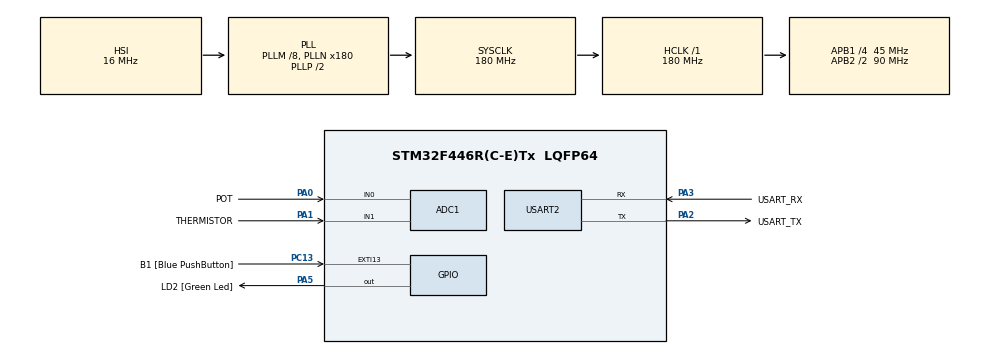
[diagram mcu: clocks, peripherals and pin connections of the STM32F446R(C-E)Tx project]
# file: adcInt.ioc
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ADC1.Channel-0\#ChannelRegularConversion=ADC_CHANNEL_TEMPSENSOR
ADC1.Channel-1\#ChannelRegularConversion=ADC_CHANNEL_0
ADC1.Channel-2\#ChannelRegularConversion=ADC_CHANNEL_1
ADC1.NbrOfConversion=3
ADC1.NbrOfConversionFlag=1
ADC1.Rank-0\#ChannelRegularConversion=1
ADC1.Rank-1\#ChannelRegularConversion=2
ADC1.Rank-2\#ChannelRegularConversion=3
ADC1.SamplingTime-0\#ChannelRegularConversion=ADC_SAMPLETIME_84CYCLES
ADC1.SamplingTime-1\#ChannelRegularConversion=ADC_SAMPLETIME_84CYCLES
ADC1.SamplingTime-2\#ChannelRegularConversion=ADC_SAMPLETIME_84CYCLES
ADC1.master=1
Mcu.Family=STM32F4
Mcu.Name=STM32F446R(C-E)Tx
Mcu.Package=LQFP64
NVIC.ADC_IRQn=true\:0\:0\:false\:false\:true\:true\:true\:true
NVIC.PriorityGroup=NVIC_PRIORITYGROUP_0
NVIC.TIM2_IRQn=true\:0\:0\:false\:false\:true\:true\:true\:true
PA0-WKUP.GPIO_Label=POT
PA0-WKUP.Signal=ADCx_IN0
PA1.GPIO_Label=THERMISTOR
PA1.Signal=ADCx_IN1
PA13.GPIO_Label=TMS
PA13.Mode=Trace_Asynchronous_SW
PA13.Signal=SYS_JTMS-SWDIO
PA14.GPIO_Label=TCK
PA14.Mode=Trace_Asynchronous_SW
PA14.Signal=SYS_JTCK-SWCLK
PA2.GPIO_Label=USART_TX
PA2.Mode=Asynchronous
PA2.Signal=USART2_TX
PA3.GPIO_Label=USART_RX
PA3.Mode=Asynchronous
PA3.Signal=USART2_RX
PA5.GPIO_Label=LD2 [Green Led]
PA5.Signal=GPIO_Output
PB3.GPIO_Label=SWO
PB3.Mode=Trace_Asynchronous_SW
PB3.Signal=SYS_JTDO-SWO
PC13.GPIO_Label=B1 [Blue PushButton]
PC13.GPIO_ModeDefaultEXTI=GPIO_MODE_IT_FALLING
PC13.Signal=GPXTI13
PC14-OSC32_IN.Mode=LSE-External-Oscillator
PC14-OSC32_IN.Signal=RCC_OSC32_IN
PC15-OSC32_OUT.Mode=LSE-External-Oscillator
PC15-OSC32_OUT.Signal=RCC_OSC32_OUT
PH0-OSC_IN.Mode=HSE-External-Oscillator
PH0-OSC_IN.Signal=RCC_OSC_IN
PH1-OSC_OUT.Mode=HSE-External-Oscillator
PH1-OSC_OUT.Signal=RCC_OSC_OUT
ProjectManager.HeapSize=0x200
ProjectManager.StackSize=0x400
ProjectManager.TargetToolchain=STM32CubeIDE
RCC.48MHZClocksFreq_Value=84000000
RCC.AHBFreq_Value=180000000
RCC.APB1CLKDivider=RCC_HCLK_DIV4
RCC.APB1Freq_Value=45000000
RCC.APB1TimFreq_Value=90000000
RCC.APB2CLKDivider=RCC_HCLK_DIV2
RCC.APB2Freq_Value=90000000
RCC.APB2TimFreq_Value=180000000
RCC.CortexFreq_Value=180000000
RCC.FLatency-AdvancedSettings=FLASH_LATENCY_5
RCC.HCLKFreq_Value=180000000
RCC.HSE_VALUE=8000000
RCC.HSI_VALUE=16000000
RCC.PLLM=8
RCC.PLLN=180
RCC.SYSCLKFreq_VALUE=180000000
RCC.SYSCLKSource=RCC_SYSCLKSOURCE_PLLCLK
RCC.USBFreq_Value=180000000
RCC.VCOOutputFreq_Value=360000000
SH.ADCx_IN0.0=ADC1_IN0,IN0
SH.ADCx_IN1.0=ADC1_IN1,IN1
TIM2.AutoReloadPreload=TIM_AUTORELOAD_PRELOAD_ENABLE
TIM2.Period=9000
TIM2.Prescaler=5000
USART2.VirtualMode=VM_ASYNC
VP_ADC1_TempSens_Input.Mode=IN-TempSens
VP_TIM2_VS_ClockSourceINT.Mode=Internal
board=NUCLEO-F446RE

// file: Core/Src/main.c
/* USER CODE BEGIN Header */
/**
  ******************************************************************************
  * @file           : main.c
  * @brief          : Main program body
  ******************************************************************************
  * @attention
  *
  * Copyright (c) 2023 STMicroelectronics.
  * All rights reserved.
  *
  * This software is licensed under terms that can be found in the LICENSE file
  * in the root directory of this software component.
  * If no LICENSE file comes with this software, it is provided AS-IS.
  *
  ******************************************************************************
  */
/* USER CODE END Header */
#include "main.h"

/* USER CODE BEGIN Includes */
#include "thermistor.h"
#include "pot.h"
#include "dieTemp.h"
/* USER CODE END Includes */

ADC_HandleTypeDef hadc1;

TIM_HandleTypeDef htim2;

UART_HandleTypeDef huart2;

/* USER CODE BEGIN PV */
// global array to hold ADC values
// 0 - die
// 1 - pot
// 2 - thermistor

uint16_t adcValues[3];

// index variable to index through array
uint8_t i;

/* USER CODE END PV */

void SystemClock_Config(void);
static void MX_GPIO_Init(void);
static void MX_USART2_UART_Init(void);
static void MX_ADC1_Init(void);
static void MX_TIM2_Init(void);

int main(void)
{
  /* USER CODE BEGIN 1 */
	// variables to hold adc and temperature values
	uint16_t thermADC;
	uint16_t dieADC;
	uint16_t potADC;

	float dieTemp;
	float thermTemp;
	float potVoltage;
  /* USER CODE END 1 */

  /* MCU Configuration--------------------------------------------------------*/

  /* Reset of all peripherals, Initializes the Flash interface and the Systick. */
  HAL_Init();

  /* USER CODE BEGIN Init */
  HAL_GPIO_WritePin(LD2_GPIO_Port, LD2_Pin, SET);  // initialize LD2 as on
  /* USER CODE END Init */

  /* Configure the system clock */
  SystemClock_Config();

  /* Initialize all configured peripherals */
  MX_GPIO_Init();
  MX_USART2_UART_Init();
  MX_ADC1_Init();
  MX_TIM2_Init();
  /* USER CODE BEGIN 2 */
  HAL_TIM_Base_Start_IT(&htim2); // start the 500ms hardware timer on an interrupt
  /* USER CODE END 2 */

  /* Infinite loop */
  /* USER CODE BEGIN WHILE */
  while (1)
  {
	  // set index to 0
	  i = 0;
	  // start ADCs
	  HAL_ADC_Start_IT(&hadc1);
	  HAL_Delay(1000); // only print every second

	  // get ADC values from array
	  dieADC = adcValues[0];
	  potADC = adcValues[1];
	  thermADC = adcValues[2];

	  // convert to temperatures
	  dieTemp = ConvertDieTempADCtoFloat(dieADC);
	  thermTemp = convertAnalogToTemperature(thermADC);
	  potVoltage = ConvertPotADCtoFloat(potADC);

	  // print to the terminal
	  printf("ADC Outputs:\n\r"
			  "\tDie Value: %i;\tDie Temperature: %.1f\xB0\C\n\r"
			  "\tThermistor Value: %i;\tThermistor Temperature: %.1f\xB0\C \n\r"
			  "\tPot Value: %i;\tPot Voltage: %.1f V\n\r"
			  "\n\r", dieADC, dieTemp, thermADC, thermTemp, potADC, potVoltage);

    /* USER CODE END WHILE */

  }
}

void SystemClock_Config(void)
{
  RCC_OscInitTypeDef RCC_OscInitStruct = {0};
  RCC_ClkInitTypeDef RCC_ClkInitStruct = {0};

  /** Configure the main internal regulator output voltage
  */
  __HAL_RCC_PWR_CLK_ENABLE();
  __HAL_PWR_VOLTAGESCALING_CONFIG(PWR_REGULATOR_VOLTAGE_SCALE1);

  /** Initializes the RCC Oscillators according to the specified parameters
  * in the RCC_OscInitTypeDef structure.
  */
  RCC_OscInitStruct.OscillatorType = RCC_OSCILLATORTYPE_HSI;
  RCC_OscInitStruct.HSIState = RCC_HSI_ON;
  RCC_OscInitStruct.HSICalibrationValue = RCC_HSICALIBRATION_DEFAULT;
  RCC_OscInitStruct.PLL.PLLState = RCC_PLL_ON;
  RCC_OscInitStruct.PLL.PLLSource = RCC_PLLSOURCE_HSI;
  RCC_OscInitStruct.PLL.PLLM = 8;
  RCC_OscInitStruct.PLL.PLLN = 180;
  RCC_OscInitStruct.PLL.PLLP = RCC_PLLP_DIV2;
  RCC_OscInitStruct.PLL.PLLQ = 2;
  RCC_OscInitStruct.PLL.PLLR = 2;
  if (HAL_RCC_OscConfig(&RCC_OscInitStruct) != HAL_OK)
  {
    Error_Handler();
  }

  /** Activate the Over-Drive mode
  */
  if (HAL_PWREx_EnableOverDrive() != HAL_OK)
  {
    Error_Handler();
  }

  /** Initializes the CPU, AHB and APB buses clocks
  */
  RCC_ClkInitStruct.ClockType = RCC_CLOCKTYPE_HCLK|RCC_CLOCKTYPE_SYSCLK
                              |RCC_CLOCKTYPE_PCLK1|RCC_CLOCKTYPE_PCLK2;
  RCC_ClkInitStruct.SYSCLKSource = RCC_SYSCLKSOURCE_PLLCLK;
  RCC_ClkInitStruct.AHBCLKDivider = RCC_SYSCLK_DIV1;
  RCC_ClkInitStruct.APB1CLKDivider = RCC_HCLK_DIV4;
  RCC_ClkInitStruct.APB2CLKDivider = RCC_HCLK_DIV2;

  if (HAL_RCC_ClockConfig(&RCC_ClkInitStruct, FLASH_LATENCY_5) != HAL_OK)
  {
    Error_Handler();
  }
}

static void MX_ADC1_Init(void)
{

  ADC_ChannelConfTypeDef sConfig = {0};

  /** Configure the global features of the ADC (Clock, Resolution, Data Alignment and number of conversion)
  */
  hadc1.Instance = ADC1;
  hadc1.Init.ClockPrescaler = ADC_CLOCK_SYNC_PCLK_DIV4;
  hadc1.Init.Resolution = ADC_RESOLUTION_12B;
  hadc1.Init.ScanConvMode = ENABLE;
  hadc1.Init.ContinuousConvMode = DISABLE;
  hadc1.Init.DiscontinuousConvMode = DISABLE;
  hadc1.Init.ExternalTrigConvEdge = ADC_EXTERNALTRIGCONVEDGE_NONE;
  hadc1.Init.ExternalTrigConv = ADC_SOFTWARE_START;
  hadc1.Init.DataAlign = ADC_DATAALIGN_RIGHT;
  hadc1.Init.NbrOfConversion = 3;
  hadc1.Init.DMAContinuousRequests = DISABLE;
  hadc1.Init.EOCSelection = ADC_EOC_SINGLE_CONV;
  if (HAL_ADC_Init(&hadc1) != HAL_OK)
  {
    Error_Handler();
  }

  /** Configure for the selected ADC regular channel its corresponding rank in the sequencer and its sample time.
  */
  sConfig.Channel = ADC_CHANNEL_TEMPSENSOR;
  sConfig.Rank = 1;
  sConfig.SamplingTime = ADC_SAMPLETIME_84CYCLES;
  if (HAL_ADC_ConfigChannel(&hadc1, &sConfig) != HAL_OK)
  {
    Error_Handler();
  }

  /** Configure for the selected ADC regular channel its corresponding rank in the sequencer and its sample time.
  */
  sConfig.Channel = ADC_CHANNEL_0;
  sConfig.Rank = 2;
  if (HAL_ADC_ConfigChannel(&hadc1, &sConfig) != HAL_OK)
  {
    Error_Handler();
  }

  /** Configure for the selected ADC regular channel its corresponding rank in the sequencer and its sample time.
  */
  sConfig.Channel = ADC_CHANNEL_1;
  sConfig.Rank = 3;
  if (HAL_ADC_ConfigChannel(&hadc1, &sConfig) != HAL_OK)
  {
    Error_Handler();
  }

}

static void MX_TIM2_Init(void)
{

  TIM_ClockConfigTypeDef sClockSourceConfig = {0};
  TIM_MasterConfigTypeDef sMasterConfig = {0};

  htim2.Instance = TIM2;
  htim2.Init.Prescaler = 5000;
  htim2.Init.CounterMode = TIM_COUNTERMODE_UP;
  htim2.Init.Period = 9000;
  htim2.Init.ClockDivision = TIM_CLOCKDIVISION_DIV1;
  htim2.Init.AutoReloadPreload = TIM_AUTORELOAD_PRELOAD_ENABLE;
  if (HAL_TIM_Base_Init(&htim2) != HAL_OK)
  {
    Error_Handler();
  }
  sClockSourceConfig.ClockSource = TIM_CLOCKSOURCE_INTERNAL;
  if (HAL_TIM_ConfigClockSource(&htim2, &sClockSourceConfig) != HAL_OK)
  {
    Error_Handler();
  }
  sMasterConfig.MasterOutputTrigger = TIM_TRGO_RESET;
  sMasterConfig.MasterSlaveMode = TIM_MASTERSLAVEMODE_DISABLE;
  if (HAL_TIMEx_MasterConfigSynchronization(&htim2, &sMasterConfig) != HAL_OK)
  {
    Error_Handler();
  }

}

static void MX_USART2_UART_Init(void)
{

  huart2.Instance = USART2;
  huart2.Init.BaudRate = 115200;
  huart2.Init.WordLength = UART_WORDLENGTH_8B;
  huart2.Init.StopBits = UART_STOPBITS_1;
  huart2.Init.Parity = UART_PARITY_NONE;
  huart2.Init.Mode = UART_MODE_TX_RX;
  huart2.Init.HwFlowCtl = UART_HWCONTROL_NONE;
  huart2.Init.OverSampling = UART_OVERSAMPLING_16;
  if (HAL_UART_Init(&huart2) != HAL_OK)
  {
    Error_Handler();
  }

}

static void MX_GPIO_Init(void)
{
  GPIO_InitTypeDef GPIO_InitStruct = {0};

  /* GPIO Ports Clock Enable */
  __HAL_RCC_GPIOC_CLK_ENABLE();
  __HAL_RCC_GPIOH_CLK_ENABLE();
  __HAL_RCC_GPIOA_CLK_ENABLE();
  __HAL_RCC_GPIOB_CLK_ENABLE();

  /*Configure GPIO pin Output Level */
  HAL_GPIO_WritePin(LD2_GPIO_Port, LD2_Pin, GPIO_PIN_RESET);

  /*Configure GPIO pin : B1_Pin */
  GPIO_InitStruct.Pin = B1_Pin;
  GPIO_InitStruct.Mode = GPIO_MODE_IT_FALLING;
  GPIO_InitStruct.Pull = GPIO_NOPULL;
  HAL_GPIO_Init(B1_GPIO_Port, &GPIO_InitStruct);

  /*Configure GPIO pin : LD2_Pin */
  GPIO_InitStruct.Pin = LD2_Pin;
  GPIO_InitStruct.Mode = GPIO_MODE_OUTPUT_PP;
  GPIO_InitStruct.Pull = GPIO_NOPULL;
  GPIO_InitStruct.Speed = GPIO_SPEED_FREQ_LOW;
  HAL_GPIO_Init(LD2_GPIO_Port, &GPIO_InitStruct);

}

/* USER CODE BEGIN 4 */

// --- printf --- //
int __io_putchar(int ch){ 		// when printf is called
	ITM_SendChar(ch);			// send char via ITM
	return 0;					// return exit code 0
}
// --- ADC callback conversion --- //
void HAL_ADC_ConvCpltCallback(ADC_HandleTypeDef* hadc)
{
	// insert adc value at proper index
	adcValues[i] = HAL_ADC_GetValue(&hadc1);
	// increment index for next call, or stop adc
	if(i>=2){
		HAL_ADC_Stop_IT(hadc);
	}else{
		i++;
	}
	return;
}

void HAL_TIM_PeriodElapsedCallback(TIM_HandleTypeDef *htim){
	HAL_GPIO_TogglePin(LD2_GPIO_Port, LD2_Pin); // toggle the led
}
/* USER CODE END 4 */

void Error_Handler(void)
{
  __disable_irq();
  while (1)
  {
  }
}
